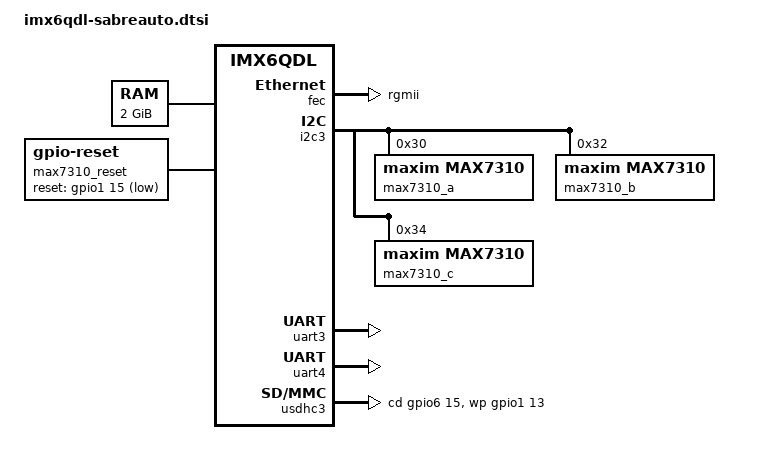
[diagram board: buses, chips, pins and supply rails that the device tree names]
/*
 * Copyright 2012 Freescale Semiconductor, Inc.
 * Copyright 2011 Linaro Ltd.
 *
 * The code contained herein is licensed under the GNU General Public
 * License. You may obtain a copy of the GNU General Public License
 * Version 2 or later at the following locations:
 *
 * http://www.opensource.org/licenses/gpl-license.html
 * http://www.gnu.org/copyleft/gpl.html
 */

/ {
	memory {
		reg = <0x10000000 0x80000000>;
	};

	max7310_reset: max7310-reset {
		compatible = "gpio-reset";
		reset-gpios = <&gpio1 15 GPIO_ACTIVE_LOW>;
		reset-delay-us = <1>;
		#reset-cells = <0>;
	};
};

&fec {
	pinctrl-names = "default";
	pinctrl-0 = <&pinctrl_enet_2>;
	phy-mode = "rgmii";
	status = "okay";
};

&i2c3 {
	pinctrl-names = "default";
	pinctrl-0 = <&pinctrl_i2c3_4>;
	pinctrl-assert-gpios = <&gpio5 4 GPIO_ACTIVE_HIGH>;
	status = "okay";

	max7310_a: gpio@30 {
		compatible = "maxim,max7310";
		reg = <0x30>;
		gpio-controller;
		#gpio-cells = <2>;
		resets = <&max7310_reset>;
	};

	max7310_b: gpio@32 {
		compatible = "maxim,max7310";
		reg = <0x32>;
		gpio-controller;
		#gpio-cells = <2>;
	};

	max7310_c: gpio@34 {
		compatible = "maxim,max7310";
		reg = <0x34>;
		gpio-controller;
		#gpio-cells = <2>;
	};
};

&iomuxc {
	pinctrl-names = "default";
	pinctrl-0 = <&pinctrl_hog>;

	hog {
		pinctrl_hog: hoggrp {
			fsl,pins = <
				MX6QDL_PAD_NANDF_CS2__GPIO6_IO15 0x80000000
				MX6QDL_PAD_SD2_DAT2__GPIO1_IO13  0x80000000
				MX6QDL_PAD_EIM_A24__GPIO5_IO04   0x80000000
				MX6QDL_PAD_SD2_DAT0__GPIO1_IO15  0x80000000
			>;
		};
	};
};

&uart3 {
	pinctrl-names = "default";
	pinctrl-0 = <&pinctrl_uart3_1>;
	pinctrl-assert-gpios = <&max7310_b 4 GPIO_ACTIVE_HIGH>, /* CTS */
			       <&max7310_c 3 GPIO_ACTIVE_HIGH>; /* RXD and TXD */
	fsl,uart-has-rtscts;
	status = "okay";
};

&uart4 {
	pinctrl-names = "default";
	pinctrl-0 = <&pinctrl_uart4_1>;
	status = "okay";
};

&usdhc3 {
	pinctrl-names = "default";
	pinctrl-0 = <&pinctrl_usdhc3_1>;
	cd-gpios = <&gpio6 15 0>;
	wp-gpios = <&gpio1 13 0>;
	status = "okay";
};
